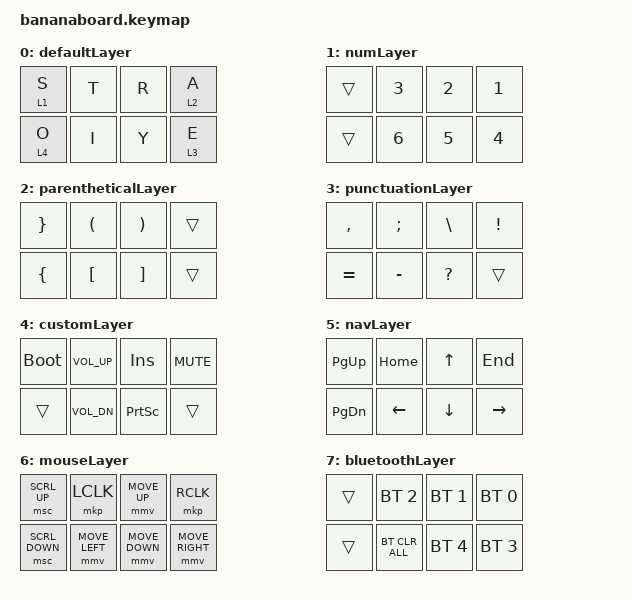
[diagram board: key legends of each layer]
#include <behaviors.dtsi>
#include <dt-bindings/zmk/bt.h>
#include <dt-bindings/zmk/keys.h>
#include <dt-bindings/zmk/keys.h>
#include <dt-bindings/zmk/pointing.h>
#include <dt-bindings/zmk/pointing.h>
#include <dt-bindings/zmk/pointing.h>

&sk {
    lazy;
    release-after-ms = <2000>;
    quick-release;
};

&soft_off { hold-time-ms = <1000>; };

/ {
    combos {
        compatible = "zmk,combos";

        artsey00 {
            bindings = <&kp M>;
            key-positions = <4 5 6>;
            layers = <0>;
        };

        artsey01 {
            bindings = <&kp B>;
            key-positions = <4 7>;
            layers = <0>;
        };

        artsey02 {
            bindings = <&kp N>;
            key-positions = <4 5>;
            layers = <0>;
        };

        artsey03 {
            bindings = <&kp C>;
            key-positions = <6 7>;
            layers = <0>;
        };

        artsey04 {
            bindings = <&kp P>;
            key-positions = <4 5 7>;
            layers = <0>;
        };

        artsey05 {
            bindings = <&kp D>;
            key-positions = <1 2 3>;
            layers = <0>;
        };

        artsey06 {
            bindings = <&kp Q>;
            key-positions = <0 1 3>;
            layers = <0>;
        };

        artsey07 {
            bindings = <&kp F>;
            key-positions = <2 3>;
            layers = <0>;
        };

        artsey08 {
            bindings = <&kp U>;
            key-positions = <5 6>;
            layers = <0>;
        };

        artsey09 {
            bindings = <&kp G>;
            key-positions = <1 2>;
            layers = <0>;
        };

        artsey10 {
            bindings = <&kp V>;
            key-positions = <0 2>;
            layers = <0>;
        };

        artsey11 {
            bindings = <&kp H>;
            key-positions = <5 7>;
            layers = <0>;
        };

        artsey12 {
            bindings = <&kp W>;
            key-positions = <0 3>;
            layers = <0>;
        };

        artsey13 {
            bindings = <&kp J>;
            key-positions = <0 1>;
            layers = <0>;
        };

        artsey14 {
            bindings = <&kp X>;
            key-positions = <0 1 2>;
            layers = <0>;
        };

        artsey15 {
            bindings = <&kp K>;
            key-positions = <4 6>;
            layers = <0>;
        };

        artsey16 {
            bindings = <&kp Z>;
            key-positions = <0 1 2 3>;
            layers = <0>;
        };

        artsey17 {
            bindings = <&kp L>;
            key-positions = <5 6 7>;
            layers = <0>;
        };

        artsey18 {
            bindings = <&kp ESC>;
            key-positions = <2 3 4>;
            layers = <0>;
        };

        artsey19 {
            bindings = <&kp RET>;
            key-positions = <3 7>;
            layers = <0>;
        };

        artsey20 {
            bindings = <&kp TAB>;
            key-positions = <1 2 3 4>;
            layers = <0>;
        };

        artsey21 {
            bindings = <&kp SQT>;
            key-positions = <3 5 6>;
            layers = <0>;
        };

        artsey22 {
            bindings = <&sk LCTRL>;
            key-positions = <0 7>;
            layers = <0>;
            slow-release;
        };

        artsey23 {
            bindings = <&kp DOT>;
            key-positions = <3 6>;
            layers = <0>;
        };

        artsey24 {
            bindings = <&sk LGUI>;
            key-positions = <0 6>;
            layers = <0>;
        };

        artsey25 {
            bindings = <&kp COMMA>;
            key-positions = <3 5>;
            layers = <0>;
        };

        artsey26 {
            bindings = <&sk LALT>;
            key-positions = <0 5>;
            layers = <0>;
        };

        artsey27 {
            bindings = <&kp FSLH>;
            key-positions = <0 6>;
            layers = <0>;
        };

        artsey28 {
            bindings = <&sk LSHFT>;
            key-positions = <0 1 2 7>;
            layers = <0>;
        };

        artsey29 {
            bindings = <&kp EXCL>;
            key-positions = <1 5>;
            layers = <0>;
        };

        artsey30 {
            bindings = <&kt LSHFT>;
            key-positions = <2 6>;
            layers = <0>;
        };

        artsey31 {
            bindings = <&kp SPACE>;
            key-positions = <4 5 6 7>;
            layers = <0>;
        };

        artsey32 {
            bindings = <&kp CLCK>;
            key-positions = <3 4 5 6>;
            layers = <0>;
        };

        artsey33 {
            bindings = <&kp BSPC>;
            key-positions = <2 7>;
            layers = <0>;
        };

        artsey35 {
            bindings = <&kp DEL>;
            key-positions = <2 5>;
            layers = <0>;
        };

        artsey36 {
            bindings = <&kp N8>;
            key-positions = <1 2>;
            layers = <1>;
        };

        artsey37 {
            bindings = <&kp N7>;
            key-positions = <2 3>;
            layers = <1>;
        };

        artsey38 {
            bindings = <&kp N0>;
            key-positions = <5 6>;
            layers = <1>;
        };

        artsey39 {
            bindings = <&kp N9>;
            key-positions = <6 7>;
            layers = <1>;
        };

        lockNav {
            bindings = <&tog 5>;
            key-positions = <5 2 7>;
        };

        lockMouse {
            bindings = <&tog 6>;
            key-positions = <1 6 3>;
        };

        BTprofile {
            bindings = <&tog 7>;
            key-positions = <0 4 3 7>;
        };
    };

    behaviors {
        mom_tap: mom_tap {
            compatible = "zmk,behavior-hold-tap";
            label = "MOM_TAP";
            bindings = <&mo>, <&kp>;

            #binding-cells = <2>;
            tapping-term-ms = <200>;
            quick-tap-ms = <150>;
            flavor = "tap-preferred";
        };
    };

    keymap {
        compatible = "zmk,keymap";

        defaultLayer {
            bindings = <
&mom_tap 1 S  &kp T  &kp R  &mom_tap 2 A
&mom_tap 4 O  &kp I  &kp Y  &mom_tap 3 E
            >;
        };

        numLayer {
            bindings = <
&trans  &kp N3  &kp N2  &kp N1
&trans  &kp N6  &kp N5  &kp N4
            >;
        };

        parentheticalLayer {
            bindings = <
&kp RBRC        &kp LPAR  &kp RPAR  &trans
&kp LEFT_BRACE  &kp LBKT  &kp RBKT  &trans
            >;
        };

        punctuationLayer {
            bindings = <
&kp COMMA  &kp SEMI   &kp BSLH   &kp EXCL
&kp EQUAL  &kp MINUS  &kp QMARK  &trans
            >;
        };

        customLayer {
            bindings = <
&bootloader  &kp C_VOLUME_UP  &kp INSERT       &kp C_MUTE
&trans       &kp C_VOL_DN     &kp PRINTSCREEN  &trans
            >;
        };

        navLayer {
            bindings = <
&kp PG_UP  &kp HOME  &kp UP    &kp END
&kp PG_DN  &kp LEFT  &kp DOWN  &kp RIGHT
            >;
        };

        mouseLayer {
            bindings = <
&msc SCRL_UP    &mkp LCLK       &mmv MOVE_UP    &mkp RCLK
&msc SCRL_DOWN  &mmv MOVE_LEFT  &mmv MOVE_DOWN  &mmv MOVE_RIGHT
            >;
        };

        bluetoothLayer {
            bindings = <
&trans  &bt BT_SEL 2    &bt BT_SEL 1  &bt BT_SEL 0
&trans  &bt BT_CLR_ALL  &bt BT_SEL 4  &bt BT_SEL 3
            >;
        };
    };
};
